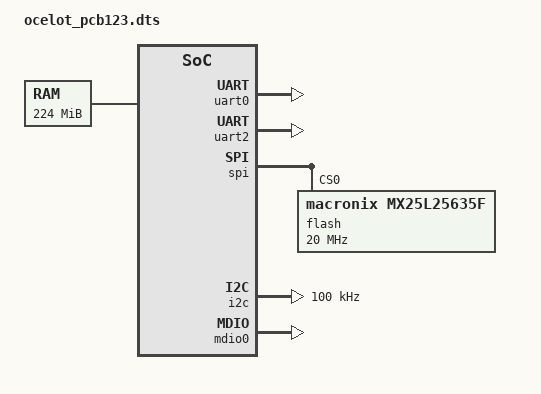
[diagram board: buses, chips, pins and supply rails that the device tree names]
// SPDX-License-Identifier: (GPL-2.0 OR MIT)
/* Copyright (c) 2017 Microsemi Corporation */

/dts-v1/;

#include "ocelot.dtsi"

/ {
	compatible = "mscc,ocelot-pcb123", "mscc,ocelot";

	chosen {
		stdout-path = "serial0:115200n8";
	};

	memory@0 {
		device_type = "memory";
		reg = <0x0 0x0e000000>;
	};
};

&uart0 {
	status = "okay";
};

&uart2 {
	status = "okay";
};

&spi {
	status = "okay";

	flash@0 {
		compatible = "macronix,mx25l25635f", "jedec,spi-nor";
		spi-max-frequency = <20000000>;
		reg = <0>;
	};
};

&i2c {
	clock-frequency = <100000>;
	i2c-sda-hold-time-ns = <300>;
	status = "okay";
};

&mdio0 {
	status = "okay";
};

&port0 {
	status = "okay";
	phy-handle = <&phy0>;
	phy-mode = "internal";
};

&port1 {
	status = "okay";
	phy-handle = <&phy1>;
	phy-mode = "internal";
};

&port2 {
	status = "okay";
	phy-handle = <&phy2>;
	phy-mode = "internal";
};

&port3 {
	status = "okay";
	phy-handle = <&phy3>;
	phy-mode = "internal";
};
